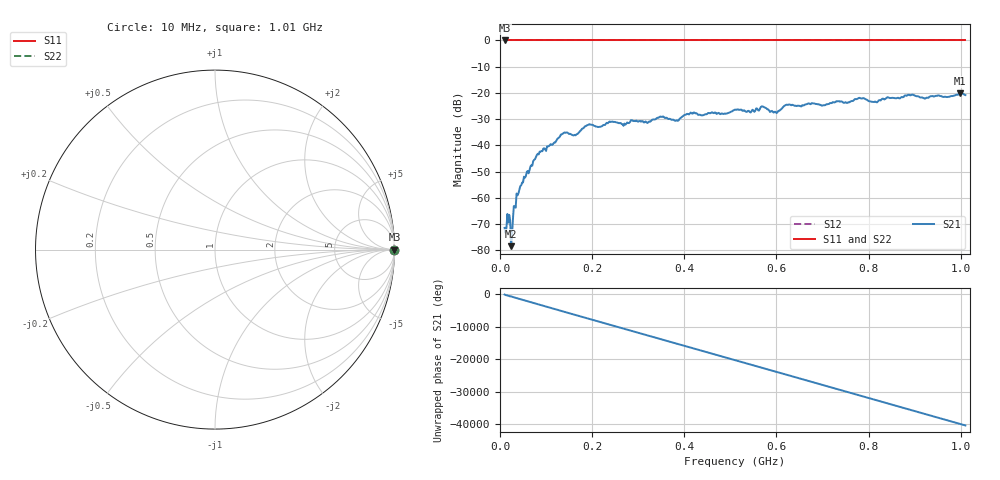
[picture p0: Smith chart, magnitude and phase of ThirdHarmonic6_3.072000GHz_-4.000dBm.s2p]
! 8/17/2025 8:58:53 AM
! C:\ANRITSUVNA\TEMP\TEMP.S2P
! CHANNEL.1
! TR.MEASUREMENT
! RAW.DATA
! RF.CORRECTION.OFF
! AVERAGING.OFF
! IF.BANDWIDTH: 5KHZ
! SWEEPTYPE:  FREQ.SWEEP(Linear)
! Reference Plane Port Info
! PORT:  PORT1  PORT2
! DISTANCE:  0  m  0  m
! TIME:  0  s  0  s
! PHASE.OFFSET:  0  deg.  0  deg.
! LOSS:  0  dB  0  dB
! REF.LOSS:  0  dB  0  dB
! REF.FREQ:  0  Hz  0  Hz
! Power Info
! POWER:  -20  dBm  -20  dBm
! EFF.POWER:  -20  dBm  -20  dBm
! SOURCE.ATTEN:  0  dB  0  dB
! TEST.ATTEN:  0  dB  0  dB
# GHZ S RI R 50.0
! FREQ.GHZ  S11RE  S11IM  S21RE  S21IM  S12RE  S12IM  S22RE  S22IM
!; PortSelection: Port_12
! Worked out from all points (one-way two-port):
!   501 points, 10 MHz to 1.01 GHz, reference 50 ohm
!   highest |S21| = -20.13 dB at 998 MHz (marker M1); lowest = -78.5 dB at 24 MHz (marker M2)
!   lowest |S11| = 0.0 dB at 10 MHz (marker M3)
!   |S11| at or under -10 dB: nowhere
!   |S22| runs from 0.0 to 0.0 dB; largest |S21 - S12| = 1.1
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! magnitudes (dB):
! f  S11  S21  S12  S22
! 10 MHz  0.0  -71.5  0.0  0.0
! 18 MHz  0.0  -69.5  0.0  0.0
! 24 MHz  0.0  -78.5  0.0  0.0
! 28 MHz  0.0  -68.4  0.0  0.0
! 32 MHz  0.0  -63.3  0.0  0.0
! 40 MHz  0.0  -58.3  0.0  0.0
! 82 MHz  0.0  -43.2  0.0  0.0
! 136 MHz  0.0  -35.6  0.0  0.0
! 162 MHz  0.0  -36.0  0.0  0.0
! 178 MHz  0.0  -33.7  0.0  0.0
! 194 MHz  0.0  -31.9  0.0  0.0
! 344 MHz  0.0  -29.5  0.0  0.0
! 384 MHz  0.0  -30.5  0.0  0.0
! 418 MHz  0.0  -27.9  0.0  0.0
! 510 MHz  0.0  -26.4  0.0  0.0
! 570 MHz  0.0  -25.1  0.0  0.0
! 598 MHz  0.0  -27.2  0.0  0.0
! 624 MHz  0.0  -24.6  0.0  0.0
! 678 MHz  0.0  -24.0  0.0  0.0
! 844 MHz  0.0  -21.8  0.0  0.0
! 998 MHz  0.0  -20.1  0.0  0.0
! 1.01 GHz  0.0  -20.8  0.0  0.0
